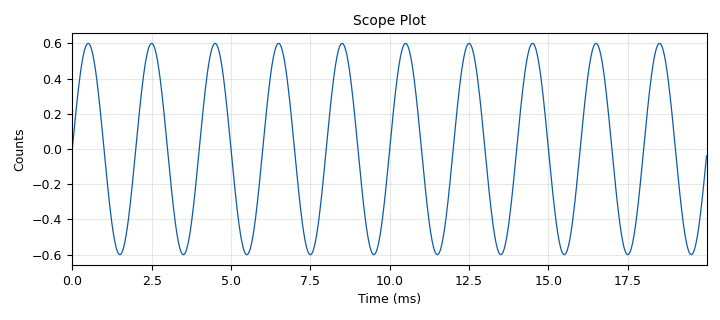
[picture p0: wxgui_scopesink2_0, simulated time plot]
<?xml version='1.0' encoding='utf-8'?>
<flow_graph>
<block>
<key>variable</key>
<param><key>id</key><value>samp_rate</value></param>
<param><key>value</key><value>8e3</value></param>
</block>
<block>
<key>variable_slider</key>
<param><key>id</key><value>f</value></param>
<param><key>label</key><value></value></param>
<param><key>value</key><value>500</value></param>
<param><key>min</key><value>100</value></param>
<param><key>max</key><value>10e3</value></param>
<param><key>num_steps</key><value>100</value></param>
<param><key>style</key><value>wx.SL_HORIZONTAL</value></param>
<param><key>converver</key><value>float_converter</value></param>
</block>
<block>
<key>analog_sig_source_x</key>
<param><key>id</key><value>analog_sig_source_x_0</value></param>
<param><key>type</key><value>float</value></param>
<param><key>samp_rate</key><value>samp_rate</value></param>
<param><key>waveform</key><value>analog.GR_COS_WAVE</value></param>
<param><key>freq</key><value>f</value></param>
<param><key>amp</key><value>0.5</value></param>
<param><key>offset</key><value>0</value></param>
</block>
<block>
<key>rational_resampler_xxx</key>
<param><key>id</key><value>rational_resampler_xxx_0</value></param>
<param><key>type</key><value>fff</value></param>
<param><key>interp</key><value>48000</value></param>
<param><key>decim</key><value>8000</value></param>
</block>
<block>
<key>audio_sink</key>
<param><key>id</key><value>audio_sink_0</value></param>
<param><key>samp_rate</key><value>48000</value></param>
</block>
<block>
<key>options</key>
<param><key>id</key><value>sine_wave_audio</value></param>
<param><key>title</key><value>Sine wave audio</value></param>
<param><key>generate_options</key><value>wx_gui</value></param>
<param><key>category</key><value>Custom</value></param>
</block>
<block>
<key>blocks_multiply_const_vxx</key>
<param><key>id</key><value>blocks_multiply_const_vxx_0</value></param>
<param><key>type</key><value>float</value></param>
<param><key>const</key><value>1.2</value></param>
</block>
<block>
<key>wxgui_scopesink2</key>
<param><key>id</key><value>wxgui_scopesink2_0</value></param>
<param><key>type</key><value>float</value></param>
<param><key>title</key><value>Scope Plot</value></param>
<param><key>samp_rate</key><value>48000</value></param>
<param><key>v_scale</key><value>0</value></param>
<param><key>v_offset</key><value>0</value></param>
<param><key>t_scale</key><value>0</value></param>
<param><key>ac_couple</key><value>False</value></param>
<param><key>xy_mode</key><value>False</value></param>
<param><key>num_inputs</key><value>1</value></param>
<param><key>trig_mode</key><value>wxgui.TRIG_MODE_AUTO</value></param>
<param><key>y_axis_label</key><value>Counts</value></param>
</block>
<connection><source_block_id>analog_sig_source_x_0</source_block_id><sink_block_id>rational_resampler_xxx_0</sink_block_id><source_key>0</source_key><sink_key>0</sink_key></connection>
<connection><source_block_id>rational_resampler_xxx_0</source_block_id><sink_block_id>blocks_multiply_const_vxx_0</sink_block_id><source_key>0</source_key><sink_key>0</sink_key></connection>
<connection><source_block_id>blocks_multiply_const_vxx_0</source_block_id><sink_block_id>audio_sink_0</sink_block_id><source_key>0</source_key><sink_key>0</sink_key></connection>
<connection><source_block_id>blocks_multiply_const_vxx_0</source_block_id><sink_block_id>wxgui_scopesink2_0</sink_block_id><source_key>0</source_key><sink_key>0</sink_key></connection>
</flow_graph>
